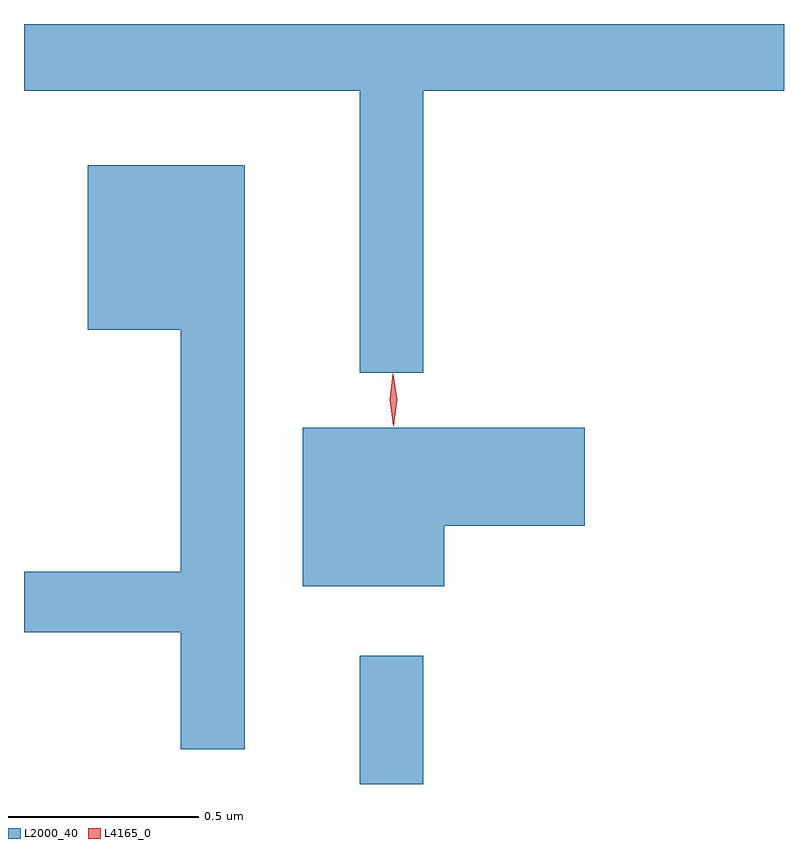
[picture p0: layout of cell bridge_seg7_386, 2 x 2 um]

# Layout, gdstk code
import gdstk
lib = gdstk.Library(unit=1e-6, precision=1e-09)
def R(c, l, rs):  # rectangles x0, y0, x1, y1
    for r in rs: c.add(gdstk.rectangle(r[:2], r[2:], *l))
def P(c, l, *ps):  # polygons
    for p in ps: c.add(gdstk.Polygon(p, *l))
L2000_40 = (2000, 40)
L4165_0 = (4165, 0)

bridge_seg7_386 = lib.new_cell('bridge_seg7_386')
R(bridge_seg7_386, L2000_40, [(1086.251,1748.011,1086.419,1748.348)])
P(bridge_seg7_386, L2000_40, [(1085.368,1749.836),(1086.251,1749.836),(1086.251,1749.093),(1086.419,1749.093),(1086.419,1749.836),(1087.368,1749.836),(1087.368,1750.011),(1085.368,1750.011)],
  [(1085.949,1749.639),(1085.536,1749.639),(1085.536,1749.206),(1085.781,1749.206),(1085.781,1748.569),(1085.368,1748.569),(1085.368,1748.411),(1085.781,1748.411),(1085.781,1748.103),(1085.949,1748.103)],
  [(1086.474,1748.691),(1086.844,1748.691),(1086.844,1748.949),(1086.101,1748.949),(1086.101,1748.531),(1086.474,1748.531)])
P(bridge_seg7_386, L4165_0, [(1086.341,1748.96),(1086.34,1748.961),(1086.33,1749.023),(1086.339,1749.086),(1086.34,1749.087),(1086.34,1749.086),(1086.35,1749.024),(1086.341,1748.961)],
  [(1086.34,1748.954),(1086.34,1748.954),(1086.33,1749.022),(1086.339,1749.09),(1086.34,1749.09),(1086.34,1749.09),(1086.35,1749.022),(1086.341,1748.954)])

lib.write_gds('bridge_seg7_386.gds')
